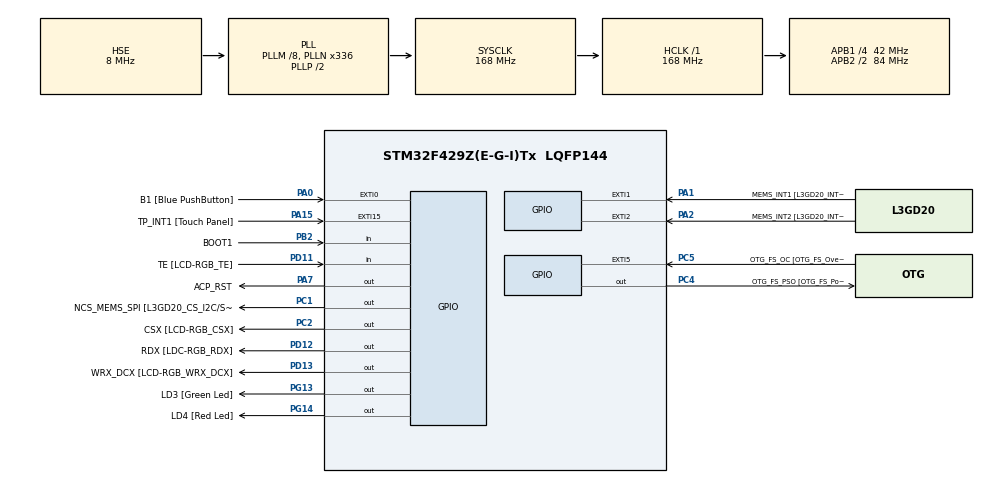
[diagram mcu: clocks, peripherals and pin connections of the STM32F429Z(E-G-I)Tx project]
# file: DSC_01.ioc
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FREERTOS.Tasks01=defaultTask,0,128,StartDefaultTask
Mcu.Family=STM32F4
Mcu.Name=STM32F429Z(E-G-I)Tx
Mcu.Package=LQFP144
NVIC.PriorityGroup=NVIC_PRIORITYGROUP_4
PA0/WKUP.GPIO_Label=B1 [Blue PushButton]
PA0/WKUP.GPIO_ModeDefaultEXTI=GPIO_MODE_EVT_RISING
PA0/WKUP.GPIO_PuPd=GPIO_NOPULL
PA0/WKUP.Signal=GPXTI0
PA1.GPIO_Label=MEMS_INT1 [L3GD20_INT1]
PA1.GPIO_ModeDefaultEXTI=GPIO_MODE_EVT_RISING
PA1.GPIO_PuPd=GPIO_NOPULL
PA1.Signal=GPXTI1
PA11.GPIO_Label=R4
PA11.GPIO_Mode=GPIO_MODE_AF_PP
PA11.GPIO_PuPd=GPIO_NOPULL
PA11.GPIO_Speed=GPIO_SPEED_LOW
PA11.Signal=LTDC_R4
PA12.GPIO_Label=R5
PA12.GPIO_Mode=GPIO_MODE_AF_PP
PA12.GPIO_PuPd=GPIO_NOPULL
PA12.GPIO_Speed=GPIO_SPEED_LOW
PA12.Signal=LTDC_R5
PA13.GPIO_Label=SWDIO
PA13.Mode=Serial-Wire
PA13.Signal=SYS_JTMS-SWDIO
PA14.GPIO_Label=SWCLK
PA14.Mode=Serial-Wire
PA14.Signal=SYS_JTCK-SWCLK
PA15.GPIO_Label=TP_INT1 [Touch Panel]
PA15.GPIO_ModeDefaultEXTI=GPIO_MODE_EVT_RISING
PA15.GPIO_PuPd=GPIO_NOPULL
PA15.Signal=GPXTI15
PA2.GPIO_Label=MEMS_INT2 [L3GD20_INT2]
PA2.GPIO_ModeDefaultEXTI=GPIO_MODE_EVT_RISING
PA2.GPIO_PuPd=GPIO_NOPULL
PA2.Signal=GPXTI2
PA3.GPIO_Label=B5
PA3.GPIO_Mode=GPIO_MODE_AF_PP
PA3.GPIO_PuPd=GPIO_NOPULL
PA3.GPIO_Speed=GPIO_SPEED_LOW
PA3.Signal=LTDC_B5
PA4.GPIO_Label=VSYNC
PA4.GPIO_Mode=GPIO_MODE_AF_PP
PA4.GPIO_PuPd=GPIO_NOPULL
PA4.GPIO_Speed=GPIO_SPEED_LOW
PA4.Signal=LTDC_VSYNC
PA6.GPIO_Label=G2
PA6.GPIO_Mode=GPIO_MODE_AF_PP
PA6.GPIO_PuPd=GPIO_NOPULL
PA6.GPIO_Speed=GPIO_SPEED_LOW
PA6.Signal=LTDC_G2
PA7.GPIO_Label=ACP_RST
PA7.GPIO_Mode=GPIO_MODE_OUTPUT_PP
PA7.GPIO_PuPd=GPIO_NOPULL
PA7.GPIO_Speed=GPIO_SPEED_LOW
PA7.Signal=GPIO_Output
PA8.GPIO_Label=I2C3_SCL [ACP/RF_SCL]
PA8.GPIO_Mode=GPIO_MODE_AF_OD
PA8.GPIO_PuPd=GPIO_NOPULL
PA8.GPIO_Speed=GPIO_SPEED_LOW
PA8.Signal=I2C3_SCL
PB0.GPIO_Label=R3
PB0.GPIO_Mode=GPIO_MODE_AF_PP
PB0.GPIO_PuPd=GPIO_NOPULL
PB0.GPIO_Speed=GPIO_SPEED_LOW
PB0.Signal=LTDC_R3
PB1.GPIO_Label=R6
PB1.GPIO_Mode=GPIO_MODE_AF_PP
PB1.GPIO_PuPd=GPIO_NOPULL
PB1.GPIO_Speed=GPIO_SPEED_LOW
PB1.Signal=LTDC_R6
PB10.GPIO_Label=G4
PB10.GPIO_Mode=GPIO_MODE_AF_PP
PB10.GPIO_PuPd=GPIO_NOPULL
PB10.GPIO_Speed=GPIO_SPEED_LOW
PB10.Signal=LTDC_G4
PB11.GPIO_Label=G5
PB11.GPIO_Mode=GPIO_MODE_AF_PP
PB11.GPIO_PuPd=GPIO_NOPULL
PB11.GPIO_Speed=GPIO_SPEED_LOW
PB11.Signal=LTDC_G5
PB12.GPIO_Label=OTG_FS_ID
PB12.GPIO_Mode=GPIO_MODE_AF_PP
PB12.GPIO_PuPd=GPIO_NOPULL
PB12.GPIO_Speed=GPIO_SPEED_LOW
PB12.Signal=USB_OTG_HS_ID
PB13.GPIO_Label=VBUS_FS
PB13.GPIO_Mode=GPIO_MODE_INPUT
PB13.GPIO_PuPd=GPIO_NOPULL
PB13.Signal=USB_OTG_HS_VBUS
PB14.GPIO_Label=OTG_FS_DM
PB14.GPIO_Mode=GPIO_MODE_AF_PP
PB14.GPIO_PuPd=GPIO_NOPULL
PB14.GPIO_Speed=GPIO_SPEED_LOW
PB14.Signal=USB_OTG_HS_DM
PB15.GPIO_Label=OTG_FS_DP
PB15.GPIO_Mode=GPIO_MODE_AF_PP
PB15.GPIO_PuPd=GPIO_NOPULL
PB15.GPIO_Speed=GPIO_SPEED_LOW
PB15.Signal=USB_OTG_HS_DP
PB2/BOOT1.GPIO_Label=BOOT1
PB2/BOOT1.GPIO_Mode=GPIO_MODE_INPUT
PB2/BOOT1.GPIO_PuPd=GPIO_NOPULL
PB2/BOOT1.Signal=GPIO_Input
PB5.GPIO_Label=SDCKE1
PB5.GPIO_Mode=GPIO_MODE_AF_PP
PB5.GPIO_PuPd=GPIO_NOPULL
PB5.GPIO_Speed=GPIO_SPEED_HIGH
PB5.Signal=FMC_SDCKE1
PB6.GPIO_Label=SDNE1 [SDRAM_CS]
PB6.GPIO_Mode=GPIO_MODE_AF_PP
PB6.GPIO_PuPd=GPIO_NOPULL
PB6.GPIO_Speed=GPIO_SPEED_HIGH
PB6.Signal=FMC_SDNE1
PB8.GPIO_Label=B6
PB8.GPIO_Mode=GPIO_MODE_AF_PP
PB8.GPIO_PuPd=GPIO_NOPULL
PB8.GPIO_Speed=GPIO_SPEED_LOW
PB8.Signal=LTDC_B6
PB9.GPIO_Label=B7
PB9.GPIO_Mode=GPIO_MODE_AF_PP
PB9.GPIO_PuPd=GPIO_NOPULL
PB9.GPIO_Speed=GPIO_SPEED_LOW
PB9.Signal=LTDC_B7
PC0.GPIO_Label=SDNWE
PC0.GPIO_Mode=GPIO_MODE_AF_PP
PC0.GPIO_PuPd=GPIO_NOPULL
PC0.GPIO_Speed=GPIO_SPEED_HIGH
PC0.Signal=FMC_SDNWE
PC1.GPIO_Label=NCS_MEMS_SPI [L3GD20_CS_I2C/SPI]
PC1.GPIO_Mode=GPIO_MODE_OUTPUT_PP
PC1.GPIO_PuPd=GPIO_NOPULL
PC1.GPIO_Speed=GPIO_SPEED_LOW
PC1.Signal=GPIO_Output
PC10.GPIO_Label=R2
PC10.GPIO_Mode=GPIO_MODE_AF_PP
PC10.GPIO_PuPd=GPIO_NOPULL
PC10.GPIO_Speed=GPIO_SPEED_LOW
PC10.Signal=LTDC_R2
PC14/OSC32_IN.GPIO_Label=PC14-OSC32_IN
PC14/OSC32_IN.Signal=RCC_OSC32_IN
PC15/OSC32_OUT.GPIO_Label=PC15-OSC32_OUT
PC15/OSC32_OUT.Signal=RCC_OSC32_OUT
PC2.GPIO_Label=CSX [LCD-RGB_CSX]
PC2.GPIO_Mode=GPIO_MODE_OUTPUT_PP
PC2.GPIO_PuPd=GPIO_NOPULL
PC2.GPIO_Speed=GPIO_SPEED_LOW
PC2.Signal=GPIO_Output
PC4.GPIO_Label=OTG_FS_PSO [OTG_FS_PowerSwitchOn]
PC4.GPIO_Mode=GPIO_MODE_OUTPUT_PP
PC4.GPIO_PuPd=GPIO_NOPULL
PC4.GPIO_Speed=GPIO_SPEED_LOW
PC4.Signal=GPIO_Output
PC5.GPIO_Label=OTG_FS_OC [OTG_FS_OverCurrent]
PC5.GPIO_ModeDefaultEXTI=GPIO_MODE_EVT_RISING
PC5.Signal=GPXTI5
PC6.GPIO_Label=HSYNC
PC6.GPIO_Mode=GPIO_MODE_AF_PP
PC6.GPIO_PuPd=GPIO_NOPULL
PC6.GPIO_Speed=GPIO_SPEED_LOW
PC6.Signal=LTDC_HSYNC
PC7.GPIO_Label=G6
PC7.GPIO_Mode=GPIO_MODE_AF_PP
PC7.GPIO_PuPd=GPIO_NOPULL
PC7.GPIO_Speed=GPIO_SPEED_LOW
PC7.Signal=LTDC_G6
PC9.GPIO_Label=I2C3_SDA [ACP/RF_SDA]
PC9.GPIO_Mode=GPIO_MODE_AF_OD
PC9.GPIO_PuPd=GPIO_NOPULL
PC9.GPIO_Speed=GPIO_SPEED_LOW
PC9.Signal=I2C3_SDA
PD0.GPIO_Label=D2
PD0.GPIO_Mode=GPIO_MODE_AF_PP
PD0.GPIO_PuPd=GPIO_NOPULL
PD0.GPIO_Speed=GPIO_SPEED_HIGH
PD0.Signal=FMC_D2_DA2
PD1.GPIO_Label=D3
PD1.GPIO_Mode=GPIO_MODE_AF_PP
PD1.GPIO_PuPd=GPIO_NOPULL
PD1.GPIO_Speed=GPIO_SPEED_HIGH
PD1.Signal=FMC_D3_DA3
PD10.GPIO_Label=D15
PD10.GPIO_Mode=GPIO_MODE_AF_PP
PD10.GPIO_PuPd=GPIO_NOPULL
PD10.GPIO_Speed=GPIO_SPEED_HIGH
PD10.Signal=FMC_D15_DA15
PD11.GPIO_Label=TE [LCD-RGB_TE]
PD11.GPIO_Mode=GPIO_MODE_INPUT
PD11.GPIO_PuPd=GPIO_NOPULL
PD11.Signal=GPIO_Input
PD12.GPIO_Label=RDX [LDC-RGB_RDX]
PD12.GPIO_Mode=GPIO_MODE_OUTPUT_PP
PD12.GPIO_PuPd=GPIO_NOPULL
PD12.GPIO_Speed=GPIO_SPEED_LOW
PD12.Signal=GPIO_Output
PD13.GPIO_Label=WRX_DCX [LCD-RGB_WRX_DCX]
PD13.GPIO_Mode=GPIO_MODE_OUTPUT_PP
PD13.GPIO_PuPd=GPIO_NOPULL
PD13.GPIO_Speed=GPIO_SPEED_LOW
PD13.Signal=GPIO_Output
PD14.GPIO_Label=D0
PD14.GPIO_Mode=GPIO_MODE_AF_PP
PD14.GPIO_PuPd=GPIO_NOPULL
PD14.GPIO_Speed=GPIO_SPEED_HIGH
PD14.Signal=FMC_D0_DA0
PD15.GPIO_Label=D1
PD15.GPIO_Mode=GPIO_MODE_AF_PP
PD15.GPIO_PuPd=GPIO_NOPULL
PD15.GPIO_Speed=GPIO_SPEED_HIGH
PD15.Signal=FMC_D1_DA1
PD3.GPIO_Label=G7
PD3.GPIO_Mode=GPIO_MODE_AF_PP
PD3.GPIO_PuPd=GPIO_NOPULL
PD3.GPIO_Speed=GPIO_SPEED_LOW
PD3.Signal=LTDC_G7
PD6.GPIO_Label=B2
PD6.GPIO_Mode=GPIO_MODE_AF_PP
PD6.GPIO_PuPd=GPIO_NOPULL
PD6.GPIO_Speed=GPIO_SPEED_LOW
PD6.Signal=LTDC_B2
PD8.GPIO_Label=D13
PD8.GPIO_Mode=GPIO_MODE_AF_PP
PD8.GPIO_PuPd=GPIO_NOPULL
PD8.GPIO_Speed=GPIO_SPEED_HIGH
PD8.Signal=FMC_D13_DA13
PD9.GPIO_Label=D14
PD9.GPIO_Mode=GPIO_MODE_AF_PP
PD9.GPIO_PuPd=GPIO_NOPULL
PD9.GPIO_Speed=GPIO_SPEED_HIGH
PD9.Signal=FMC_D14_DA14
PE0.GPIO_Label=NBL0 [SDRAM_LDQM]
PE0.GPIO_Mode=GPIO_MODE_AF_PP
PE0.GPIO_PuPd=GPIO_NOPULL
PE0.GPIO_Speed=GPIO_SPEED_HIGH
PE0.Signal=FMC_NBL0
PE1.GPIO_Label=NBL1 [SDRAM_UDQM]
PE1.GPIO_Mode=GPIO_MODE_AF_PP
PE1.GPIO_PuPd=GPIO_NOPULL
PE1.GPIO_Speed=GPIO_SPEED_HIGH
PE1.Signal=FMC_NBL1
PE10.GPIO_Label=D7
PE10.GPIO_Mode=GPIO_MODE_AF_PP
PE10.GPIO_PuPd=GPIO_NOPULL
PE10.GPIO_Speed=GPIO_SPEED_HIGH
PE10.Signal=FMC_D7_DA7
PE11.GPIO_Label=D8
PE11.GPIO_Mode=GPIO_MODE_AF_PP
PE11.GPIO_PuPd=GPIO_NOPULL
PE11.GPIO_Speed=GPIO_SPEED_HIGH
PE11.Signal=FMC_D8_DA8
PE12.GPIO_Label=D9
PE12.GPIO_Mode=GPIO_MODE_AF_PP
PE12.GPIO_PuPd=GPIO_NOPULL
PE12.GPIO_Speed=GPIO_SPEED_HIGH
PE12.Signal=FMC_D9_DA9
PE13.GPIO_Label=D10
PE13.GPIO_Mode=GPIO_MODE_AF_PP
PE13.GPIO_PuPd=GPIO_NOPULL
PE13.GPIO_Speed=GPIO_SPEED_HIGH
PE13.Signal=FMC_D10_DA10
PE14.GPIO_Label=D11
PE14.GPIO_Mode=GPIO_MODE_AF_PP
PE14.GPIO_PuPd=GPIO_NOPULL
PE14.GPIO_Speed=GPIO_SPEED_HIGH
PE14.Signal=FMC_D11_DA11
PE15.GPIO_Label=D12
PE15.GPIO_Mode=GPIO_MODE_AF_PP
PE15.GPIO_PuPd=GPIO_NOPULL
PE15.GPIO_Speed=GPIO_SPEED_HIGH
PE15.Signal=FMC_D12_DA12
PE7.GPIO_Label=D4
PE7.GPIO_Mode=GPIO_MODE_AF_PP
PE7.GPIO_PuPd=GPIO_NOPULL
PE7.GPIO_Speed=GPIO_SPEED_HIGH
PE7.Signal=FMC_D4_DA4
PE8.GPIO_Label=D5
PE8.GPIO_Mode=GPIO_MODE_AF_PP
PE8.GPIO_PuPd=GPIO_NOPULL
PE8.GPIO_Speed=GPIO_SPEED_HIGH
PE8.Signal=FMC_D5_DA5
PE9.GPIO_Label=D6
PE9.GPIO_Mode=GPIO_MODE_AF_PP
PE9.GPIO_PuPd=GPIO_NOPULL
PE9.GPIO_Speed=GPIO_SPEED_HIGH
PE9.Signal=FMC_D6_DA6
PF0.GPIO_Label=A0
PF0.GPIO_Mode=GPIO_MODE_AF_PP
PF0.GPIO_PuPd=GPIO_NOPULL
PF0.GPIO_Speed=GPIO_SPEED_HIGH
PF0.Signal=FMC_A0
PF1.GPIO_Label=A1
PF1.GPIO_Mode=GPIO_MODE_AF_PP
PF1.GPIO_PuPd=GPIO_NOPULL
PF1.GPIO_Speed=GPIO_SPEED_HIGH
PF1.Signal=FMC_A1
PF10.GPIO_Label=ENABLE [LCD-RGB_ENABLE]
PF10.GPIO_Mode=GPIO_MODE_AF_PP
PF10.GPIO_PuPd=GPIO_NOPULL
PF10.GPIO_Speed=GPIO_SPEED_LOW
PF10.Signal=LTDC_DE
PF11.GPIO_Label=SDNRAS
PF11.GPIO_Mode=GPIO_MODE_AF_PP
PF11.GPIO_PuPd=GPIO_NOPULL
PF11.GPIO_Speed=GPIO_SPEED_HIGH
PF11.Signal=FMC_SDNRAS
PF12.GPIO_Label=A6
PF12.GPIO_Mode=GPIO_MODE_AF_PP
PF12.GPIO_PuPd=GPIO_NOPULL
PF12.GPIO_Speed=GPIO_SPEED_HIGH
PF12.Signal=FMC_A6
PF13.GPIO_Label=A7
PF13.GPIO_Mode=GPIO_MODE_AF_PP
PF13.GPIO_PuPd=GPIO_NOPULL
PF13.GPIO_Speed=GPIO_SPEED_HIGH
PF13.Signal=FMC_A7
PF14.GPIO_Label=A8
PF14.GPIO_Mode=GPIO_MODE_AF_PP
PF14.GPIO_PuPd=GPIO_NOPULL
PF14.GPIO_Speed=GPIO_SPEED_HIGH
PF14.Signal=FMC_A8
PF15.GPIO_Label=A9
PF15.GPIO_Mode=GPIO_MODE_AF_PP
PF15.GPIO_PuPd=GPIO_NOPULL
PF15.GPIO_Speed=GPIO_SPEED_HIGH
PF15.Signal=FMC_A9
PF2.GPIO_Label=A2
PF2.GPIO_Mode=GPIO_MODE_AF_PP
PF2.GPIO_PuPd=GPIO_NOPULL
PF2.GPIO_Speed=GPIO_SPEED_HIGH
PF2.Signal=FMC_A2
PF3.GPIO_Label=A3
PF3.GPIO_Mode=GPIO_MODE_AF_PP
PF3.GPIO_PuPd=GPIO_NOPULL
PF3.GPIO_Speed=GPIO_SPEED_HIGH
PF3.Signal=FMC_A3
PF4.GPIO_Label=A4
PF4.GPIO_Mode=GPIO_MODE_AF_PP
PF4.GPIO_PuPd=GPIO_NOPULL
PF4.GPIO_Speed=GPIO_SPEED_HIGH
PF4.Signal=FMC_A4
PF5.GPIO_Label=A5
PF5.GPIO_Mode=GPIO_MODE_AF_PP
PF5.GPIO_PuPd=GPIO_NOPULL
PF5.GPIO_Speed=GPIO_SPEED_HIGH
PF5.Signal=FMC_A5
PF7.GPIO_Label=SPI5_SCK [L3GD20_SCL/SPC]
PF7.GPIO_Mode=GPIO_MODE_AF_PP
PF7.GPIO_PuPd=GPIO_NOPULL
PF7.GPIO_Speed=GPIO_SPEED_LOW
PF7.Signal=SPI5_SCK
PF8.GPIO_Label=SPI5_MISO [L3GD20_SDO]
PF8.GPIO_Mode=GPIO_MODE_AF_PP
PF8.GPIO_PuPd=GPIO_NOPULL
PF8.GPIO_Speed=GPIO_SPEED_LOW
PF8.Signal=SPI5_MISO
PF9.GPIO_Label=SPI5_MOSI [L3GD20_SDA/SDI/SDO]
PF9.GPIO_Mode=GPIO_MODE_AF_PP
PF9.GPIO_PuPd=GPIO_NOPULL
PF9.GPIO_Speed=GPIO_SPEED_LOW
PF9.Signal=SPI5_MOSI
PG0.GPIO_Label=A10
PG0.GPIO_Mode=GPIO_MODE_AF_PP
PG0.GPIO_PuPd=GPIO_NOPULL
PG0.GPIO_Speed=GPIO_SPEED_HIGH
PG0.Signal=FMC_A10
PG1.GPIO_Label=A11
PG1.GPIO_Mode=GPIO_MODE_AF_PP
PG1.GPIO_PuPd=GPIO_NOPULL
PG1.GPIO_Speed=GPIO_SPEED_HIGH
PG1.Signal=FMC_A11
PG10.GPIO_Label=G3
PG10.GPIO_Mode=GPIO_MODE_AF_PP
PG10.GPIO_PuPd=GPIO_NOPULL
PG10.GPIO_Speed=GPIO_SPEED_LOW
PG10.Signal=LTDC_G3
PG11.GPIO_Label=B3
PG11.GPIO_Mode=GPIO_MODE_AF_PP
PG11.GPIO_PuPd=GPIO_NOPULL
PG11.GPIO_Speed=GPIO_SPEED_LOW
PG11.Signal=LTDC_B3
PG12.GPIO_Label=B4
PG12.GPIO_Mode=GPIO_MODE_AF_PP
PG12.GPIO_PuPd=GPIO_NOPULL
PG12.GPIO_Speed=GPIO_SPEED_LOW
PG12.Signal=LTDC_B4
PG13.GPIO_Label=LD3 [Green Led]
PG13.GPIO_Mode=GPIO_MODE_OUTPUT_PP
PG13.GPIO_PuPd=GPIO_NOPULL
PG13.GPIO_Speed=GPIO_SPEED_LOW
PG13.Signal=GPIO_Output
PG14.GPIO_Label=LD4 [Red Led]
PG14.GPIO_Mode=GPIO_MODE_OUTPUT_PP
PG14.GPIO_PuPd=GPIO_NOPULL
PG14.GPIO_Speed=GPIO_SPEED_LOW
PG14.Signal=GPIO_Output
PG15.GPIO_Label=SDNCAS
PG15.GPIO_Mode=GPIO_MODE_AF_PP
PG15.GPIO_PuPd=GPIO_NOPULL
PG15.GPIO_Speed=GPIO_SPEED_HIGH
PG15.Signal=FMC_SDNCAS
PG4.GPIO_Label=BA0
PG4.GPIO_Mode=GPIO_MODE_AF_PP
PG4.GPIO_PuPd=GPIO_NOPULL
PG4.GPIO_Speed=GPIO_SPEED_HIGH
PG4.Signal=FMC_A14_BA0
PG5.GPIO_Label=BA1
PG5.GPIO_Mode=GPIO_MODE_AF_PP
PG5.GPIO_PuPd=GPIO_NOPULL
PG5.GPIO_Speed=GPIO_SPEED_HIGH
PG5.Signal=FMC_A15_BA1
PG6.GPIO_Label=R7
PG6.GPIO_Mode=GPIO_MODE_AF_PP
PG6.GPIO_PuPd=GPIO_NOPULL
PG6.GPIO_Speed=GPIO_SPEED_LOW
PG6.Signal=LTDC_R7
PG7.GPIO_Label=DOTCLK [LCT-RGB_DOTCLK]
PG7.GPIO_Mode=GPIO_MODE_AF_PP
PG7.GPIO_PuPd=GPIO_NOPULL
PG7.GPIO_Speed=GPIO_SPEED_LOW
PG7.Signal=LTDC_CLK
PG8.GPIO_Label=SDCLK
PG8.GPIO_Mode=GPIO_MODE_AF_PP
PG8.GPIO_PuPd=GPIO_NOPULL
PG8.GPIO_Speed=GPIO_SPEED_HIGH
PG8.Signal=FMC_SDCLK
PH0/OSC_IN.GPIO_Label=PH0-OSC_IN
PH0/OSC_IN.Mode=HSE-External-Oscillator
PH0/OSC_IN.Signal=RCC_OSC_IN
PH1/OSC_OUT.GPIO_Label=PH1-OSC_OUT
PH1/OSC_OUT.Mode=HSE-External-Oscillator
PH1/OSC_OUT.Signal=RCC_OSC_OUT
ProjectManager.TargetToolchain=MDK-ARM V5
RCC.48MHZClocksFreq_Value=48000000
RCC.AHBFreq_Value=168000000
RCC.APB1CLKDivider=RCC_HCLK_DIV4
RCC.APB1Freq_Value=42000000
RCC.APB1TimFreq_Value=84000000
RCC.APB2CLKDivider=RCC_HCLK_DIV2
RCC.APB2Freq_Value=84000000
RCC.APB2TimFreq_Value=168000000
RCC.CortexFreq_Value=168000000
RCC.HCLKFreq_Value=168000000
RCC.HSE_VALUE=8000000
RCC.HSI_VALUE=16000000
RCC.LSE_VALUE=32768
RCC.PLLM=8
RCC.PLLN=336
RCC.PLLQ=7
RCC.PLLSourceVirtual=RCC_PLLSOURCE_HSE
RCC.SYSCLKFreq_VALUE=168000000
RCC.SYSCLKSource=RCC_SYSCLKSOURCE_PLLCLK
RCC.VCOOutputFreq_Value=336000000
SH.FMC_A0.0=FMC_A0
SH.FMC_A1.0=FMC_A1
SH.FMC_A10.0=FMC_A10
SH.FMC_A11.0=FMC_A11
SH.FMC_A14_BA0.0=FMC_BA0
SH.FMC_A15_BA1.0=FMC_BA1
SH.FMC_A2.0=FMC_A2
SH.FMC_A3.0=FMC_A3
SH.FMC_A4.0=FMC_A4
SH.FMC_A5.0=FMC_A5
SH.FMC_A6.0=FMC_A6
SH.FMC_A7.0=FMC_A7
SH.FMC_A8.0=FMC_A8
SH.FMC_A9.0=FMC_A9
SH.FMC_D0_DA0.0=FMC_D0
SH.FMC_D10_DA10.0=FMC_D10
SH.FMC_D11_DA11.0=FMC_D11
SH.FMC_D12_DA12.0=FMC_D12
SH.FMC_D13_DA13.0=FMC_D13
SH.FMC_D14_DA14.0=FMC_D14
SH.FMC_D15_DA15.0=FMC_D15
SH.FMC_D1_DA1.0=FMC_D1
SH.FMC_D2_DA2.0=FMC_D2
SH.FMC_D3_DA3.0=FMC_D3
SH.FMC_D4_DA4.0=FMC_D4
SH.FMC_D5_DA5.0=FMC_D5
SH.FMC_D6_DA6.0=FMC_D6
SH.FMC_D7_DA7.0=FMC_D7
SH.FMC_D8_DA8.0=FMC_D8
SH.FMC_D9_DA9.0=FMC_D9
SH.FMC_NBL0.0=FMC_NBL0
SH.FMC_NBL1.0=FMC_NBL1
SH.FMC_SDCLK.0=FMC_SDCLK
SH.FMC_SDNCAS.0=FMC_SDNCAS
SH.FMC_SDNRAS.0=FMC_SDNRAS
SH.FMC_SDNWE.0=FMC_SDNWE
VP_FREERTOS_VS_ENABLE.Mode=Enabled
board=STM32F429I-DISCO

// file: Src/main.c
/**
  ******************************************************************************
  * File Name          : main.c
  * Description        : Main program body
  ******************************************************************************
  *
  * COPYRIGHT(c) 2015 STMicroelectronics
  *
  * Redistribution and use in source and binary forms, with or without modification,
  * are permitted provided that the following conditions are met:
  *   1. Redistributions of source code must retain the above copyright notice,
  *      this list of conditions and the following disclaimer.
  *   2. Redistributions in binary form must reproduce the above copyright notice,
  *      this list of conditions and the following disclaimer in the documentation
  *      and/or other materials provided with the distribution.
  *   3. Neither the name of STMicroelectronics nor the names of its contributors
  *      may be used to endorse or promote products derived from this software
  *      without specific prior written permission.
  *
  * THIS SOFTWARE IS PROVIDED BY THE COPYRIGHT HOLDERS AND CONTRIBUTORS "AS IS"
  * AND ANY EXPRESS OR IMPLIED WARRANTIES, INCLUDING, BUT NOT LIMITED TO, THE
  * IMPLIED WARRANTIES OF MERCHANTABILITY AND FITNESS FOR A PARTICULAR PURPOSE ARE
  * DISCLAIMED. IN NO EVENT SHALL THE COPYRIGHT HOLDER OR CONTRIBUTORS BE LIABLE
  * FOR ANY DIRECT, INDIRECT, INCIDENTAL, SPECIAL, EXEMPLARY, OR CONSEQUENTIAL
  * DAMAGES (INCLUDING, BUT NOT LIMITED TO, PROCUREMENT OF SUBSTITUTE GOODS OR
  * SERVICES; LOSS OF USE, DATA, OR PROFITS; OR BUSINESS INTERRUPTION) HOWEVER
  * CAUSED AND ON ANY THEORY OF LIABILITY, WHETHER IN CONTRACT, STRICT LIABILITY,
  * OR TORT (INCLUDING NEGLIGENCE OR OTHERWISE) ARISING IN ANY WAY OUT OF THE USE
  * OF THIS SOFTWARE, EVEN IF ADVISED OF THE POSSIBILITY OF SUCH DAMAGE.
  *
  ******************************************************************************
  */
#include "stm32f4xx_hal.h"

//HY using CMSIS_RTOS
//#include "cmsis_os.h"
//HY using freeRTOS directly
#include "freertos.h"
#include "task.h"

//osThreadId defaultTaskHandle;

/* USER CODE BEGIN PV */
/* Private variables ---------------------------------------------------------*/
uint64_t u64Ticks=0; // Counts OS ticks (default = 1000Hz).
uint64_t u64IdleTicks=0; // Value of u64IdleTicksCnt is copied once per sec.
uint64_t u64IdleTicksCnt=0; // Counts when the OS has no task to execute.
uint16_t u16PWM1=0;

#define mainTIME_TASK_PRIORITY ( tskIDLE_PRIORITY  )
#define mainTIME2_TASK_PRIORITY ( tskIDLE_PRIORITY + 1 )

xTaskHandle hTimeTask;
xTaskHandle hTimeTask2;

/* USER CODE END PV */

void SystemClock_Config(void);
static void MX_GPIO_Init(void);
void StartDefaultTask(void const * argument);

/* USER CODE BEGIN PFP */
/* Private function prototypes -----------------------------------------------*/
void myTask1(void *arg);
void myTask2(void *arg);
/* USER CODE END PFP */

int main(void)
{

  /* MCU Configuration----------------------------------------------------------*/

  /* Reset of all peripherals, Initializes the Flash interface and the Systick. */
  HAL_Init();

  /* Configure the system clock */
  SystemClock_Config();

  /* Initialize all configured peripherals */
  MX_GPIO_Init();

  /* Create the thread(s) */
  /* definition and creation of defaultTask */
  //osThreadDef(defaultTask, StartDefaultTask, osPriorityNormal, 0, 128);
  //defaultTaskHandle = osThreadCreate(osThread(defaultTask), NULL);

  xTaskCreate( myTask1, (signed char *) "Task1", configMINIMAL_STACK_SIZE,
    NULL, mainTIME_TASK_PRIORITY, &hTimeTask );

    xTaskCreate( myTask2, (signed char *) "Task2", configMINIMAL_STACK_SIZE,
    NULL, mainTIME2_TASK_PRIORITY, &hTimeTask2 );

  /* Start scheduler */
  //HY freeRTOS only
  vTaskStartScheduler();
  //HY using CMSIS_RTOS
  //osKernelStart();

  /* We should never get here as control is now taken by the scheduler */

  /* Infinite loop */
  while (1)
  {

  }

}

/** System Clock Configuration
*/
void SystemClock_Config(void)
{

  RCC_OscInitTypeDef RCC_OscInitStruct;
  RCC_ClkInitTypeDef RCC_ClkInitStruct;

  __PWR_CLK_ENABLE();

  __HAL_PWR_VOLTAGESCALING_CONFIG(PWR_REGULATOR_VOLTAGE_SCALE1);

  RCC_OscInitStruct.OscillatorType = RCC_OSCILLATORTYPE_HSE;
  RCC_OscInitStruct.HSEState = RCC_HSE_ON;
  RCC_OscInitStruct.PLL.PLLState = RCC_PLL_ON;
  RCC_OscInitStruct.PLL.PLLSource = RCC_PLLSOURCE_HSE;
  RCC_OscInitStruct.PLL.PLLM = 8;
  RCC_OscInitStruct.PLL.PLLN = 336;
  RCC_OscInitStruct.PLL.PLLP = RCC_PLLP_DIV2;
  RCC_OscInitStruct.PLL.PLLQ = 7;
  HAL_RCC_OscConfig(&RCC_OscInitStruct);

  RCC_ClkInitStruct.ClockType = RCC_CLOCKTYPE_SYSCLK|RCC_CLOCKTYPE_PCLK1
                              |RCC_CLOCKTYPE_PCLK2;
  RCC_ClkInitStruct.SYSCLKSource = RCC_SYSCLKSOURCE_PLLCLK;
  RCC_ClkInitStruct.AHBCLKDivider = RCC_SYSCLK_DIV1;
  RCC_ClkInitStruct.APB1CLKDivider = RCC_HCLK_DIV4;
  RCC_ClkInitStruct.APB2CLKDivider = RCC_HCLK_DIV2;
  HAL_RCC_ClockConfig(&RCC_ClkInitStruct, FLASH_LATENCY_5);

  HAL_SYSTICK_Config(HAL_RCC_GetHCLKFreq()/1000);

  HAL_SYSTICK_CLKSourceConfig(SYSTICK_CLKSOURCE_HCLK);

  /* SysTick_IRQn interrupt configuration */
  HAL_NVIC_SetPriority(SysTick_IRQn, 0, 0);
}

/** Configure pins as
        * Analog
        * Input
        * Output
        * EVENT_OUT
        * EXTI
     PF0   ------> FMC_A0
     PF1   ------> FMC_A1
     PF2   ------> FMC_A2
     PF3   ------> FMC_A3
     PF4   ------> FMC_A4
     PF5   ------> FMC_A5
     PF7   ------> SPI5_SCK
     PF8   ------> SPI5_MISO
     PF9   ------> SPI5_MOSI
     PF10   ------> LTDC_DE
     PC0   ------> FMC_SDNWE
     PA3   ------> LTDC_B5
     PA4   ------> LTDC_VSYNC
     PA6   ------> LTDC_G2
     PB0   ------> LTDC_R3
     PB1   ------> LTDC_R6
     PF11   ------> FMC_SDNRAS
     PF12   ------> FMC_A6
     PF13   ------> FMC_A7
     PF14   ------> FMC_A8
     PF15   ------> FMC_A9
     PG0   ------> FMC_A10
     PG1   ------> FMC_A11
     PE7   ------> FMC_D4_DA4
     PE8   ------> FMC_D5_DA5
     PE9   ------> FMC_D6_DA6
     PE10   ------> FMC_D7_DA7
     PE11   ------> FMC_D8_DA8
     PE12   ------> FMC_D9_DA9
     PE13   ------> FMC_D10_DA10
     PE14   ------> FMC_D11_DA11
     PE15   ------> FMC_D12_DA12
     PB10   ------> LTDC_G4
     PB11   ------> LTDC_G5
     PB12   ------> USB_OTG_HS_ID
     PB13   ------> USB_OTG_HS_VBUS
     PB14   ------> USB_OTG_HS_DM
     PB15   ------> USB_OTG_HS_DP
     PD8   ------> FMC_D13_DA13
     PD9   ------> FMC_D14_DA14
     PD10   ------> FMC_D15_DA15
     PD14   ------> FMC_D0_DA0
     PD15   ------> FMC_D1_DA1
     PG4   ------> FMC_A14_BA0
     PG5   ------> FMC_A15_BA1
     PG6   ------> LTDC_R7
     PG7   ------> LTDC_CLK
     PG8   ------> FMC_SDCLK
     PC6   ------> LTDC_HSYNC
     PC7   ------> LTDC_G6
     PC9   ------> I2C3_SDA
     PA8   ------> I2C3_SCL
     PA11   ------> LTDC_R4
     PA12   ------> LTDC_R5
     PC10   ------> LTDC_R2
     PD0   ------> FMC_D2_DA2
     PD1   ------> FMC_D3_DA3
     PD3   ------> LTDC_G7
     PD6   ------> LTDC_B2
     PG10   ------> LTDC_G3
     PG11   ------> LTDC_B3
     PG12   ------> LTDC_B4
     PG15   ------> FMC_SDNCAS
     PB5   ------> FMC_SDCKE1
     PB6   ------> FMC_SDNE1
     PB8   ------> LTDC_B6
     PB9   ------> LTDC_B7
     PE0   ------> FMC_NBL0
     PE1   ------> FMC_NBL1
*/
void MX_GPIO_Init(void)
{

  GPIO_InitTypeDef GPIO_InitStruct;

  /* GPIO Ports Clock Enable */
  __GPIOC_CLK_ENABLE();
  __GPIOF_CLK_ENABLE();
  __GPIOH_CLK_ENABLE();
  __GPIOA_CLK_ENABLE();
  __GPIOB_CLK_ENABLE();
  __GPIOG_CLK_ENABLE();
  __GPIOE_CLK_ENABLE();
  __GPIOD_CLK_ENABLE();

  /*Configure GPIO pins : A0_Pin A1_Pin A2_Pin A3_Pin
                           A4_Pin A5_Pin SDNRAS_Pin A6_Pin
                           A7_Pin A8_Pin A9_Pin */
  GPIO_InitStruct.Pin = A0_Pin|A1_Pin|A2_Pin|A3_Pin
                          |A4_Pin|A5_Pin|SDNRAS_Pin|A6_Pin
                          |A7_Pin|A8_Pin|A9_Pin;
  GPIO_InitStruct.Mode = GPIO_MODE_AF_PP;
  GPIO_InitStruct.Pull = GPIO_NOPULL;
  GPIO_InitStruct.Speed = GPIO_SPEED_HIGH;
  GPIO_InitStruct.Alternate = GPIO_AF12_FMC;
  HAL_GPIO_Init(GPIOF, &GPIO_InitStruct);

  /*Configure GPIO pins : PF7 PF8 PF9 */
  GPIO_InitStruct.Pin = GPIO_PIN_7|GPIO_PIN_8|GPIO_PIN_9;
  GPIO_InitStruct.Mode = GPIO_MODE_AF_PP;
  GPIO_InitStruct.Pull = GPIO_NOPULL;
  GPIO_InitStruct.Speed = GPIO_SPEED_LOW;
  GPIO_InitStruct.Alternate = GPIO_AF5_SPI5;
  HAL_GPIO_Init(GPIOF, &GPIO_InitStruct);

  /*Configure GPIO pin : ENABLE_Pin */
  GPIO_InitStruct.Pin = ENABLE_Pin;
  GPIO_InitStruct.Mode = GPIO_MODE_AF_PP;
  GPIO_InitStruct.Pull = GPIO_NOPULL;
  GPIO_InitStruct.Speed = GPIO_SPEED_LOW;
  GPIO_InitStruct.Alternate = GPIO_AF14_LTDC;
  HAL_GPIO_Init(ENABLE_GPIO_Port, &GPIO_InitStruct);

  /*Configure GPIO pin : SDNWE_Pin */
  GPIO_InitStruct.Pin = SDNWE_Pin;
  GPIO_InitStruct.Mode = GPIO_MODE_AF_PP;
  GPIO_InitStruct.Pull = GPIO_NOPULL;
  GPIO_InitStruct.Speed = GPIO_SPEED_HIGH;
  GPIO_InitStruct.Alternate = GPIO_AF12_FMC;
  HAL_GPIO_Init(SDNWE_GPIO_Port, &GPIO_InitStruct);

  /*Configure GPIO pins : NCS_MEMS_SPI_Pin CSX_Pin OTG_FS_PSO_Pin */
  GPIO_InitStruct.Pin = NCS_MEMS_SPI_Pin|CSX_Pin|OTG_FS_PSO_Pin;
  GPIO_InitStruct.Mode = GPIO_MODE_OUTPUT_PP;
  GPIO_InitStruct.Pull = GPIO_NOPULL;
  GPIO_InitStruct.Speed = GPIO_SPEED_LOW;
  HAL_GPIO_Init(GPIOC, &GPIO_InitStruct);

  /*Configure GPIO pins : B1_Pin MEMS_INT1_Pin MEMS_INT2_Pin TP_INT1_Pin */
  GPIO_InitStruct.Pin = B1_Pin|MEMS_INT1_Pin|MEMS_INT2_Pin|TP_INT1_Pin;
  GPIO_InitStruct.Mode = GPIO_MODE_EVT_RISING;
  GPIO_InitStruct.Pull = GPIO_NOPULL;
  HAL_GPIO_Init(GPIOA, &GPIO_InitStruct);

  /*Configure GPIO pins : B5_Pin VSYNC_Pin G2_Pin R4_Pin
                           R5_Pin */
  GPIO_InitStruct.Pin = B5_Pin|VSYNC_Pin|G2_Pin|R4_Pin
                          |R5_Pin;
  GPIO_InitStruct.Mode = GPIO_MODE_AF_PP;
  GPIO_InitStruct.Pull = GPIO_NOPULL;
  GPIO_InitStruct.Speed = GPIO_SPEED_LOW;
  GPIO_InitStruct.Alternate = GPIO_AF14_LTDC;
  HAL_GPIO_Init(GPIOA, &GPIO_InitStruct);

  /*Configure GPIO pin : ACP_RST_Pin */
  GPIO_InitStruct.Pin = ACP_RST_Pin;
  GPIO_InitStruct.Mode = GPIO_MODE_OUTPUT_PP;
  GPIO_InitStruct.Pull = GPIO_NOPULL;
  GPIO_InitStruct.Speed = GPIO_SPEED_LOW;
  HAL_GPIO_Init(ACP_RST_GPIO_Port, &GPIO_InitStruct);

  /*Configure GPIO pin : OTG_FS_OC_Pin */
  GPIO_InitStruct.Pin = OTG_FS_OC_Pin;
  GPIO_InitStruct.Mode = GPIO_MODE_EVT_RISING;
  GPIO_InitStruct.Pull = GPIO_NOPULL;
  HAL_GPIO_Init(OTG_FS_OC_GPIO_Port, &GPIO_InitStruct);

  /*Configure GPIO pins : R3_Pin R6_Pin */
  GPIO_InitStruct.Pin = R3_Pin|R6_Pin;
  GPIO_InitStruct.Mode = GPIO_MODE_AF_PP;
  GPIO_InitStruct.Pull = GPIO_NOPULL;
  GPIO_InitStruct.Speed = GPIO_SPEED_LOW;
  GPIO_InitStruct.Alternate = GPIO_AF9_LTDC;
  HAL_GPIO_Init(GPIOB, &GPIO_InitStruct);

  /*Configure GPIO pin : BOOT1_Pin */
  GPIO_InitStruct.Pin = BOOT1_Pin;
  GPIO_InitStruct.Mode = GPIO_MODE_INPUT;
  GPIO_InitStruct.Pull = GPIO_NOPULL;
  HAL_GPIO_Init(BOOT1_GPIO_Port, &GPIO_InitStruct);

  /*Configure GPIO pins : A10_Pin A11_Pin BA0_Pin BA1_Pin
                           SDCLK_Pin SDNCAS_Pin */
  GPIO_InitStruct.Pin = A10_Pin|A11_Pin|BA0_Pin|BA1_Pin
                          |SDCLK_Pin|SDNCAS_Pin;
  GPIO_InitStruct.Mode = GPIO_MODE_AF_PP;
  GPIO_InitStruct.Pull = GPIO_NOPULL;
  GPIO_InitStruct.Speed = GPIO_SPEED_HIGH;
  GPIO_InitStruct.Alternate = GPIO_AF12_FMC;
  HAL_GPIO_Init(GPIOG, &GPIO_InitStruct);

  /*Configure GPIO pins : D4_Pin D5_Pin D6_Pin D7_Pin
                           D8_Pin D9_Pin D10_Pin D11_Pin
                           D12_Pin NBL0_Pin NBL1_Pin */
  GPIO_InitStruct.Pin = D4_Pin|D5_Pin|D6_Pin|D7_Pin
                          |D8_Pin|D9_Pin|D10_Pin|D11_Pin
                          |D12_Pin|NBL0_Pin|NBL1_Pin;
  GPIO_InitStruct.Mode = GPIO_MODE_AF_PP;
  GPIO_InitStruct.Pull = GPIO_NOPULL;
  GPIO_InitStruct.Speed = GPIO_SPEED_HIGH;
  GPIO_InitStruct.Alternate = GPIO_AF12_FMC;
  HAL_GPIO_Init(GPIOE, &GPIO_InitStruct);

  /*Configure GPIO pins : G4_Pin G5_Pin B6_Pin B7_Pin */
  GPIO_InitStruct.Pin = G4_Pin|G5_Pin|B6_Pin|B7_Pin;
  GPIO_InitStruct.Mode = GPIO_MODE_AF_PP;
  GPIO_InitStruct.Pull = GPIO_NOPULL;
  GPIO_InitStruct.Speed = GPIO_SPEED_LOW;
  GPIO_InitStruct.Alternate = GPIO_AF14_LTDC;
  HAL_GPIO_Init(GPIOB, &GPIO_InitStruct);

  /*Configure GPIO pins : OTG_FS_ID_Pin OTG_FS_DM_Pin OTG_FS_DP_Pin */
  GPIO_InitStruct.Pin = OTG_FS_ID_Pin|OTG_FS_DM_Pin|OTG_FS_DP_Pin;
  GPIO_InitStruct.Mode = GPIO_MODE_AF_PP;
  GPIO_InitStruct.Pull = GPIO_NOPULL;
  GPIO_InitStruct.Speed = GPIO_SPEED_LOW;
  GPIO_InitStruct.Alternate = GPIO_AF12_OTG_HS_FS;
  HAL_GPIO_Init(GPIOB, &GPIO_InitStruct);

  /*Configure GPIO pin : VBUS_FS_Pin */
  GPIO_InitStruct.Pin = VBUS_FS_Pin;
  GPIO_InitStruct.Mode = GPIO_MODE_INPUT;
  GPIO_InitStruct.Pull = GPIO_NOPULL;
  HAL_GPIO_Init(VBUS_FS_GPIO_Port, &GPIO_InitStruct);

  /*Configure GPIO pins : D13_Pin D14_Pin D15_Pin D0_Pin
                           D1_Pin D2_Pin D3_Pin */
  GPIO_InitStruct.Pin = D13_Pin|D14_Pin|D15_Pin|D0_Pin
                          |D1_Pin|D2_Pin|D3_Pin;
  GPIO_InitStruct.Mode = GPIO_MODE_AF_PP;
  GPIO_InitStruct.Pull = GPIO_NOPULL;
  GPIO_InitStruct.Speed = GPIO_SPEED_HIGH;
  GPIO_InitStruct.Alternate = GPIO_AF12_FMC;
  HAL_GPIO_Init(GPIOD, &GPIO_InitStruct);

  /*Configure GPIO pin : TE_Pin */
  GPIO_InitStruct.Pin = TE_Pin;
  GPIO_InitStruct.Mode = GPIO_MODE_INPUT;
  GPIO_InitStruct.Pull = GPIO_NOPULL;
  HAL_GPIO_Init(TE_GPIO_Port, &GPIO_InitStruct);

  /*Configure GPIO pins : RDX_Pin WRX_DCX_Pin */
  GPIO_InitStruct.Pin = RDX_Pin|WRX_DCX_Pin;
  GPIO_InitStruct.Mode = GPIO_MODE_OUTPUT_PP;
  GPIO_InitStruct.Pull = GPIO_NOPULL;
  GPIO_InitStruct.Speed = GPIO_SPEED_LOW;
  HAL_GPIO_Init(GPIOD, &GPIO_InitStruct);

  /*Configure GPIO pins : R7_Pin DOTCLK_Pin B3_Pin */
  GPIO_InitStruct.Pin = R7_Pin|DOTCLK_Pin|B3_Pin;
  GPIO_InitStruct.Mode = GPIO_MODE_AF_PP;
  GPIO_InitStruct.Pull = GPIO_NOPULL;
  GPIO_InitStruct.Speed = GPIO_SPEED_LOW;
  GPIO_InitStruct.Alternate = GPIO_AF14_LTDC;
  HAL_GPIO_Init(GPIOG, &GPIO_InitStruct);

  /*Configure GPIO pins : HSYNC_Pin G6_Pin R2_Pin */
  GPIO_InitStruct.Pin = HSYNC_Pin|G6_Pin|R2_Pin;
  GPIO_InitStruct.Mode = GPIO_MODE_AF_PP;
  GPIO_InitStruct.Pull = GPIO_NOPULL;
  GPIO_InitStruct.Speed = GPIO_SPEED_LOW;
  GPIO_InitStruct.Alternate = GPIO_AF14_LTDC;
  HAL_GPIO_Init(GPIOC, &GPIO_InitStruct);

  /*Configure GPIO pin : PC9 */
  GPIO_InitStruct.Pin = GPIO_PIN_9;
  GPIO_InitStruct.Mode = GPIO_MODE_AF_OD;
  GPIO_InitStruct.Pull = GPIO_PULLUP;
  GPIO_InitStruct.Speed = GPIO_SPEED_LOW;
  GPIO_InitStruct.Alternate = GPIO_AF4_I2C3;
  HAL_GPIO_Init(GPIOC, &GPIO_InitStruct);

  /*Configure GPIO pin : PA8 */
  GPIO_InitStruct.Pin = GPIO_PIN_8;
  GPIO_InitStruct.Mode = GPIO_MODE_AF_OD;
  GPIO_InitStruct.Pull = GPIO_PULLUP;
  GPIO_InitStruct.Speed = GPIO_SPEED_LOW;
  GPIO_InitStruct.Alternate = GPIO_AF4_I2C3;
  HAL_GPIO_Init(GPIOA, &GPIO_InitStruct);

  /*Configure GPIO pins : G7_Pin B2_Pin */
  GPIO_InitStruct.Pin = G7_Pin|B2_Pin;
  GPIO_InitStruct.Mode = GPIO_MODE_AF_PP;
  GPIO_InitStruct.Pull = GPIO_NOPULL;
  GPIO_InitStruct.Speed = GPIO_SPEED_LOW;
  GPIO_InitStruct.Alternate = GPIO_AF14_LTDC;
  HAL_GPIO_Init(GPIOD, &GPIO_InitStruct);

  /*Configure GPIO pins : G3_Pin B4_Pin */
  GPIO_InitStruct.Pin = G3_Pin|B4_Pin;
  GPIO_InitStruct.Mode = GPIO_MODE_AF_PP;
  GPIO_InitStruct.Pull = GPIO_NOPULL;
  GPIO_InitStruct.Speed = GPIO_SPEED_LOW;
  GPIO_InitStruct.Alternate = GPIO_AF9_LTDC;
  HAL_GPIO_Init(GPIOG, &GPIO_InitStruct);

  /*Configure GPIO pins : LD3_Pin LD4_Pin */
  GPIO_InitStruct.Pin = LD3_Pin|LD4_Pin;
  GPIO_InitStruct.Mode = GPIO_MODE_OUTPUT_PP;
  GPIO_InitStruct.Pull = GPIO_NOPULL;
  GPIO_InitStruct.Speed = GPIO_SPEED_LOW;
  HAL_GPIO_Init(GPIOG, &GPIO_InitStruct);

  /*Configure GPIO pins : SDCKE1_Pin SDNE1_Pin */
  GPIO_InitStruct.Pin = SDCKE1_Pin|SDNE1_Pin;
  GPIO_InitStruct.Mode = GPIO_MODE_AF_PP;
  GPIO_InitStruct.Pull = GPIO_NOPULL;
  GPIO_InitStruct.Speed = GPIO_SPEED_HIGH;
  GPIO_InitStruct.Alternate = GPIO_AF12_FMC;
  HAL_GPIO_Init(GPIOB, &GPIO_InitStruct);

}

/* USER CODE BEGIN 4 */
void myTask1(void *arg){
    portTickType xLastWakeTime = xTaskGetTickCount();

    while(1){
        HAL_GPIO_TogglePin(GPIOG, LD3_Pin);
        vTaskDelayUntil( &xLastWakeTime, ( 700 / portTICK_RATE_MS ) );
    }
}

void myTask2(void *arg){

   portTickType xLastWakeTime = xTaskGetTickCount();

    while(1){
        HAL_GPIO_TogglePin(GPIOG, LD4_Pin);
        vTaskDelayUntil( &xLastWakeTime, ( 500 / portTICK_RATE_MS ) );
    }
}

/* USER CODE END 4 */

/* StartDefaultTask function */
void StartDefaultTask(void const * argument)
{

  /* USER CODE BEGIN 5 */
  /* Infinite loop */
  for(;;)
  {
    //osDelay(1);
  }
  /* USER CODE END 5 */
}

/************************ (C) COPYRIGHT STMicroelectronics *****END OF FILE****/
